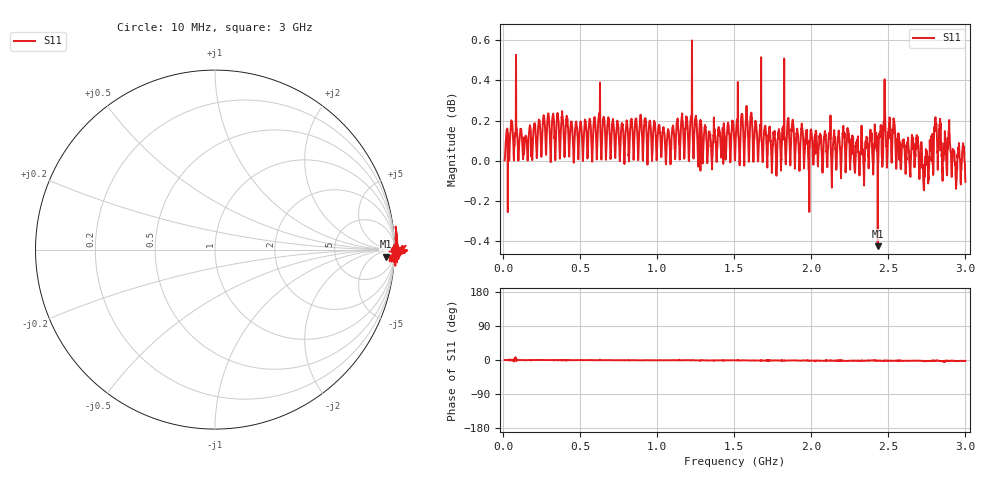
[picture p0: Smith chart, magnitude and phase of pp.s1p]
# HZ S RI R 50
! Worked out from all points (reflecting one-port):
!   2020 points, 10 MHz to 3 GHz, reference 50 ohm
!   lowest |S11| = -0.4 dB at 2.431 GHz (marker M1), VSWR 40.86, Z = 1.18e+03 - j1.01e+03 ohm
!   phase of S11 starts at -0 deg and turns -2 deg over the sweep
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1e7  1 -0.00141
5.887072e7  1.022 -0.0252
6.923724e7  1.002 -0.000148
8.848934e7  1.018 -0.0274
1.003368e8  1 -0.00242
2.380634e8  1.022 0.00235
3.846755e8  1.025 -0.0138
7.578702e8  0.9997 -0.00835
1.132546e9  1.024 -0.0122
1.237692e9  1.006 -0.0141
1.354685e9  0.9992 -0.019
1.50574e9  1.001 -0.0162
1.690857e9  1.013 -0.0267
1.878935e9  1.023 -0.0212
2.071456e9  0.995 -0.0338
2.114403e9  1.016 -0.0298
2.25361e9  0.9988 -0.0333
2.342466e9  0.9851 -0.0396
2.401704e9  0.992 -0.0165
2.431322e9  0.9514 -0.0397
2.52314e9  1.007 -0.0378
2.626805e9  1.011 -0.0377
2.691966e9  1.007 -0.0355
2.748241e9  1.004 -0.0528
2.811921e9  1.021 -0.0376
2.854868e9  1.003 -0.0616
2.885968e9  1.006 -0.0418
3e9  0.987 -0.0442
